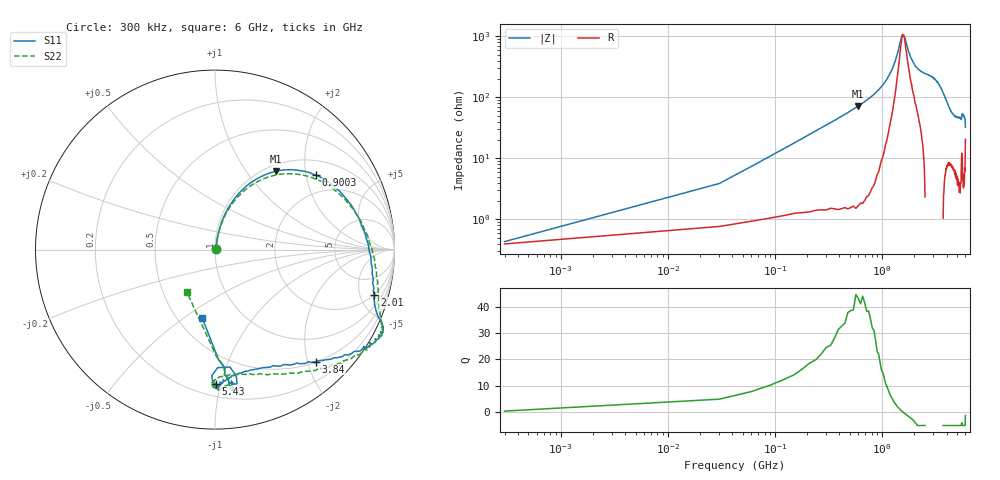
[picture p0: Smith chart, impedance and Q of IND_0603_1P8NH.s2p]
# Hz S RI R 50
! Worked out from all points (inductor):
!   201 points, 300 kHz to 6 GHz, reference 50 ohm
!   read as 1/Y11, port 2 shorted: L = 19.3 nH near 30.3 MHz
!   highest Q = 43.1 at 600.3 MHz (marker M1), where L = 19.1 nH
!   self-resonance near 1.575 GHz
!   S11 on the Smith chart (normalised r, x): 300 kHz: 1.01, +0.01; 900.3 MHz: 1.41, +2.28; 2.01 GHz: 1.97, -6.61; 3.84 GHz: 0.50, -2.15; 5.43 GHz: 0.28, -0.96; 6 GHz: 0.66, -0.59
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300000  0.00509 0.00282  0.9986 -0.00134  0.9957 -7.52e-05  0.00513 0.00264
3.02985e7  0.00949 0.0378  0.9911 -0.0376  0.9912 -0.0378  0.00905 0.0367
1.20294e8  0.0315 0.1366  0.9697 -0.1391  0.9697 -0.1389  0.032 0.1329
3.00285e8  0.1214 0.3  0.8817 -0.3118  0.8814 -0.3118  0.1239 0.2906
6.0027e8  0.3397 0.4366  0.6587 -0.4904  0.6594 -0.4904  0.3447 0.4169
9.00255e8  0.5629 0.415  0.413 -0.5447  0.4131 -0.5452  0.5701 0.3899
1.020249e9  0.6445 0.3689  0.3196 -0.5357  0.3194 -0.5368  0.6521 0.3439
1.560222e9  0.8578 0.00269  0.0186 -0.3184  0.0184 -0.3178  0.8771 -0.0128
2.0102e9  0.887 -0.2517  -0.0154 -0.1081  -0.0155 -0.1077  0.9121 -0.2663
2.220189e9  0.8935 -0.3245  -0.00335 -0.0364  -0.00343 -0.0364  0.9161 -0.3379
2.340183e9  0.9017 -0.3527  0.00608 -0.00122  0.00616 -0.00122  0.9213 -0.3675
2.40018e9  0.9049 -0.3654  0.0109 0.0158  0.011 0.0154  0.9235 -0.3798
2.520174e9  0.9168 -0.3867  0.0214 0.0479  0.0213 0.0476  0.9282 -0.4022
3.00015e9  0.9223 -0.4569  0.0747 0.1739  0.0735 0.1733  0.9093 -0.4829
3.840108e9  0.5641 -0.6244  0.3529 0.3086  0.3522 0.3092  0.4597 -0.6882
4.020099e9  0.4425 -0.6379  0.4234 0.2738  0.4244 0.2798  0.316 -0.6936
4.500075e9  0.1681 -0.6778  0.489 0.1493  0.4857 0.1509  0.0525 -0.7026
5.01005e9  0.0266 -0.7388  0.4556 0.0984  0.4578 0.0988  -0.0165 -0.7533
5.430028e9  0.0034 -0.7469  0.4789 0.1158  0.4804 0.1155  0.0493 -0.7714
5.940003e9  0.0564 -0.6597  0.5406 0.1217  0.5473 0.1191  0.0483 -0.6465
5.970002e9  0.0211 -0.6163  -0.5289 -0.0797  -0.5398 -0.0779  0.00898 -0.597
6e9  -0.0707 -0.3823  0.4119 0.0172  0.4205 0.0127  -0.1574 -0.2355
